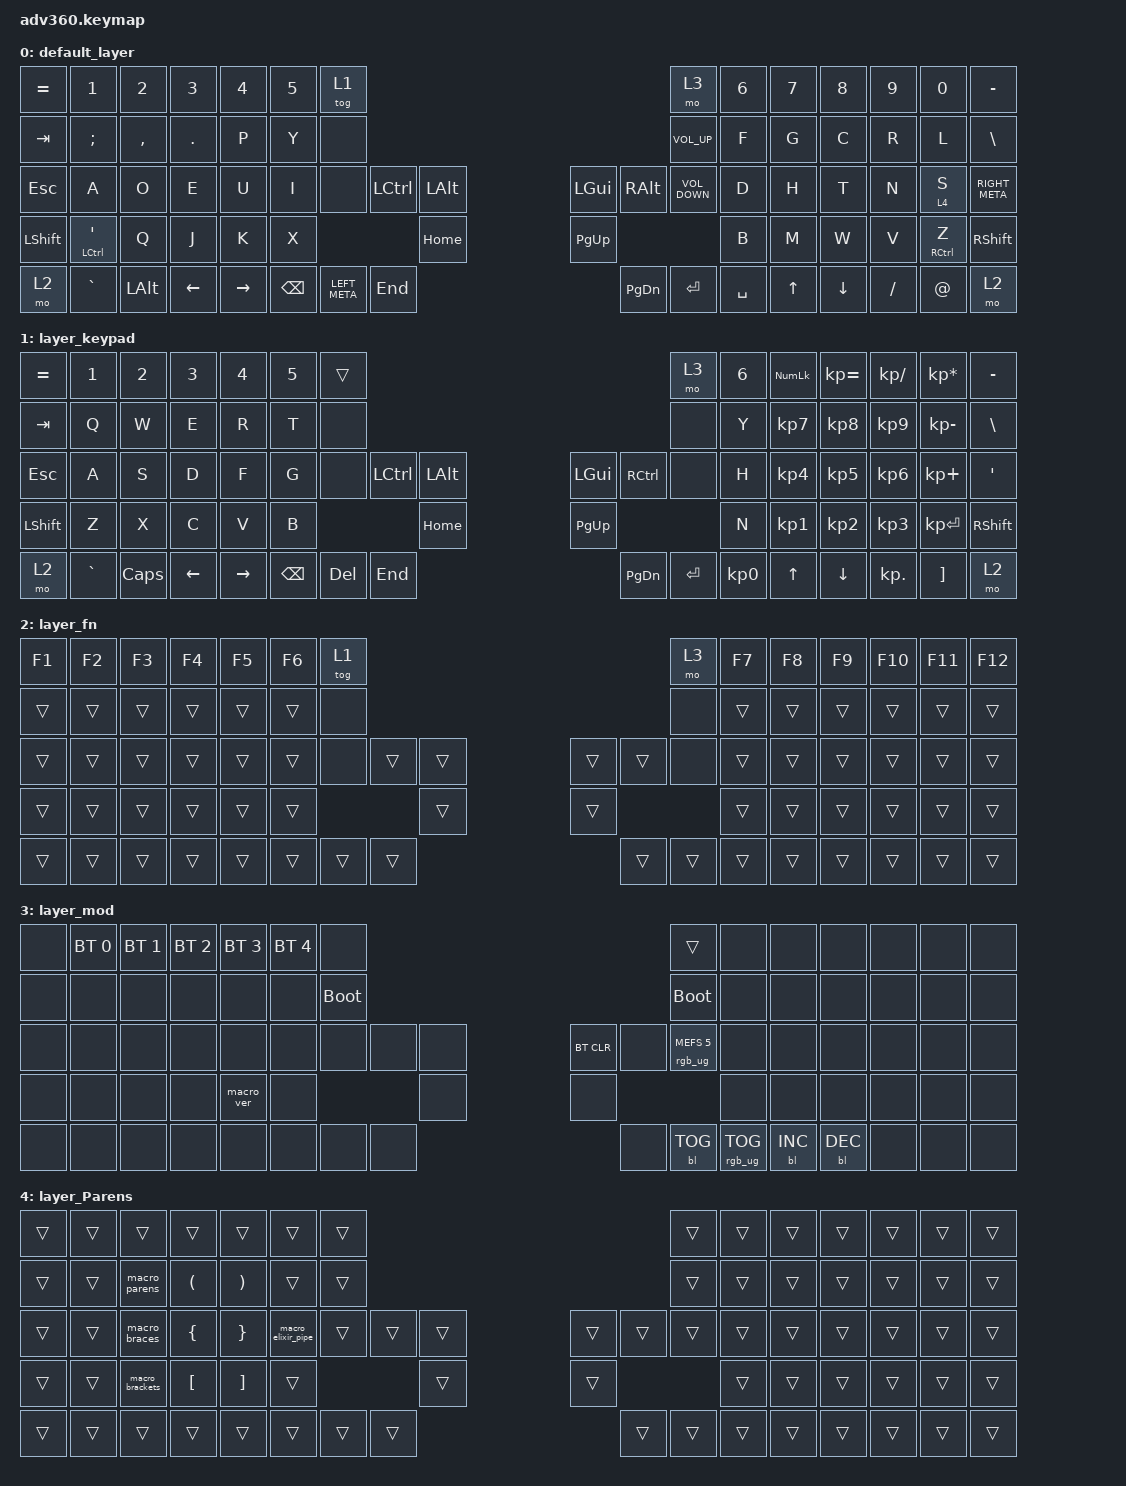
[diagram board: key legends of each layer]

/*
 * Copyright (c) 2020 The ZMK Contributors
 *
 * SPDX-License-Identifier: MIT
 */


/* THIS FILE WAS GENERATED!
 *
 * This file was generated automatically. You may or may not want to
 * edit it directly.
 */

#include <behaviors.dtsi>
#include <dt-bindings/zmk/keys.h>
#include <dt-bindings/zmk/bt.h>
#include <dt-bindings/zmk/rgb.h>
#include <dt-bindings/zmk/backlight.h>

/ {
  behaviors {
    #include "macros.dtsi"
    #include "version.dtsi"

    hm: homerow_mods {
        compatible = "zmk,behavior-hold-tap";
        label = "HOMEROW_MODS";
        #binding-cells = <2>;
        tapping-term-ms = <200>;
        quick_tap_ms = <175>;
        flavor = "tap-preferred";
        bindings = <&kp>, <&kp>;
    };
  };

    keymap {
        compatible = "zmk,keymap";


        default_layer {
            bindings = <
 &kp EQUAL                  &kp N1        &kp N2      &kp N3     &kp N4  &kp N5              &tog 1                                                                                 &mo 3  &kp N6  &kp N7    &kp N8     &kp N9       &kp N0       &kp MINUS
   &kp TAB           &kp SEMICOLON     &kp COMMA  &kp PERIOD      &kp P   &kp Y               &none                                                                       &kp C_VOLUME_UP   &kp F   &kp G     &kp C      &kp R        &kp L        &kp BSLH
   &kp ESC                   &kp A         &kp O       &kp E      &kp U   &kp I               &none      &kp LCTRL  &kp LALT                   &kp LGUI  &kp RIGHT_ALT  &kp C_VOLUME_DOWN   &kp D   &kp H     &kp T      &kp N      &lt 4 S  &kp RIGHT_META
 &kp LSHFT  &mt LCTRL SINGLE_QUOTE         &kp Q       &kp J      &kp K   &kp X                                     &kp HOME                  &kp PG_UP                                     &kp B   &kp M     &kp W      &kp V  &mt RCTRL Z       &kp RSHFT
     &mo 2               &kp GRAVE  &kp LEFT_ALT    &kp LEFT  &kp RIGHT                    &kp BSPC  &kp LEFT_META   &kp END                  &kp PG_DN      &kp ENTER          &kp SPACE          &kp UP  &kp DOWN  &kp SLASH       &kp AT           &mo 2
            >;
        };

        layer_keypad {
            bindings = <
 &kp EQUAL     &kp N1    &kp N2    &kp N3     &kp N4  &kp N5              &trans                                                                 &mo 3  &kp N6  &kp KP_NUM  &kp KP_EQUAL  &kp KP_DIVIDE  &kp KP_MULTIPLY  &kp MINUS
   &kp TAB      &kp Q     &kp W     &kp E      &kp R   &kp T               &none                                                                 &none   &kp Y   &kp KP_N7     &kp KP_N8      &kp KP_N9     &kp KP_MINUS   &kp BSLH
   &kp ESC      &kp A     &kp S     &kp D      &kp F   &kp G               &none  &kp LCTRL  &kp LALT                   &kp LGUI  &kp RCTRL      &none   &kp H   &kp KP_N4     &kp KP_N5      &kp KP_N6      &kp KP_PLUS    &kp SQT
 &kp LSHFT      &kp Z     &kp X     &kp C      &kp V   &kp B                                 &kp HOME                  &kp PG_UP                         &kp N   &kp KP_N1     &kp KP_N2      &kp KP_N3     &kp KP_ENTER  &kp RSHFT
     &mo 2  &kp GRAVE  &kp CAPS  &kp LEFT  &kp RIGHT                    &kp BSPC    &kp DEL   &kp END                  &kp PG_DN  &kp ENTER  &kp KP_N0              &kp UP      &kp DOWN     &kp KP_DOT         &kp RBKT      &mo 2
            >;
        };

        layer_fn {
            bindings = <
 &kp F1  &kp F2  &kp F3  &kp F4  &kp F5  &kp F6            &tog 1                                                   &mo 3  &kp F7  &kp F8  &kp F9  &kp F10  &kp F11  &kp F12
 &trans  &trans  &trans  &trans  &trans  &trans             &none                                                   &none  &trans  &trans  &trans   &trans   &trans   &trans
 &trans  &trans  &trans  &trans  &trans  &trans             &none  &trans  &trans                  &trans  &trans   &none  &trans  &trans  &trans   &trans   &trans   &trans
 &trans  &trans  &trans  &trans  &trans  &trans                            &trans                  &trans                  &trans  &trans  &trans   &trans   &trans   &trans
 &trans  &trans  &trans  &trans  &trans                    &trans  &trans  &trans                  &trans  &trans  &trans          &trans  &trans   &trans   &trans   &trans
            >;
        };

        layer_mod {
            bindings = <
  &none  &bt BT_SEL 0  &bt BT_SEL 1  &bt BT_SEL 2  &bt BT_SEL 3  &bt BT_SEL 4                  &none                                                                          &trans   &none       &none       &none   &none   &none   &none
  &none         &none         &none         &none         &none         &none            &bootloader                                                                     &bootloader   &none       &none       &none   &none   &none   &none
  &none         &none         &none         &none         &none         &none                  &none   &none   &none                  &bt BT_CLR       &none  &rgb_ug RGB_MEFS_CMD 5   &none       &none       &none   &none   &none   &none
  &none         &none         &none         &none    &macro_ver         &none                                  &none                       &none                                       &none       &none       &none   &none   &none   &none
  &none         &none         &none         &none         &none                                &none   &none   &none                       &none  &bl BL_TOG         &rgb_ug RGB_TOG          &bl BL_INC  &bl BL_DEC   &none   &none   &none
            >;
        };

        layer_Parens {
            bindings = <
 &trans  &trans           &trans                &trans                 &trans              &trans            &trans                                                  &trans  &trans  &trans  &trans  &trans  &trans  &trans
 &trans  &trans    &macro_parens  &kp LEFT_PARENTHESIS  &kp RIGHT_PARENTHESIS              &trans            &trans                                                  &trans  &trans  &trans  &trans  &trans  &trans  &trans
 &trans  &trans    &macro_braces        &kp LEFT_BRACE        &kp RIGHT_BRACE  &macro_elixir_pipe            &trans  &trans  &trans                  &trans  &trans  &trans  &trans  &trans  &trans  &trans  &trans  &trans
 &trans  &trans  &macro_brackets      &kp LEFT_BRACKET      &kp RIGHT_BRACKET              &trans                            &trans                  &trans                  &trans  &trans  &trans  &trans  &trans  &trans
 &trans  &trans           &trans                &trans                 &trans                                &trans  &trans  &trans                  &trans  &trans  &trans          &trans  &trans  &trans  &trans  &trans
            >;
        };

    };
};
